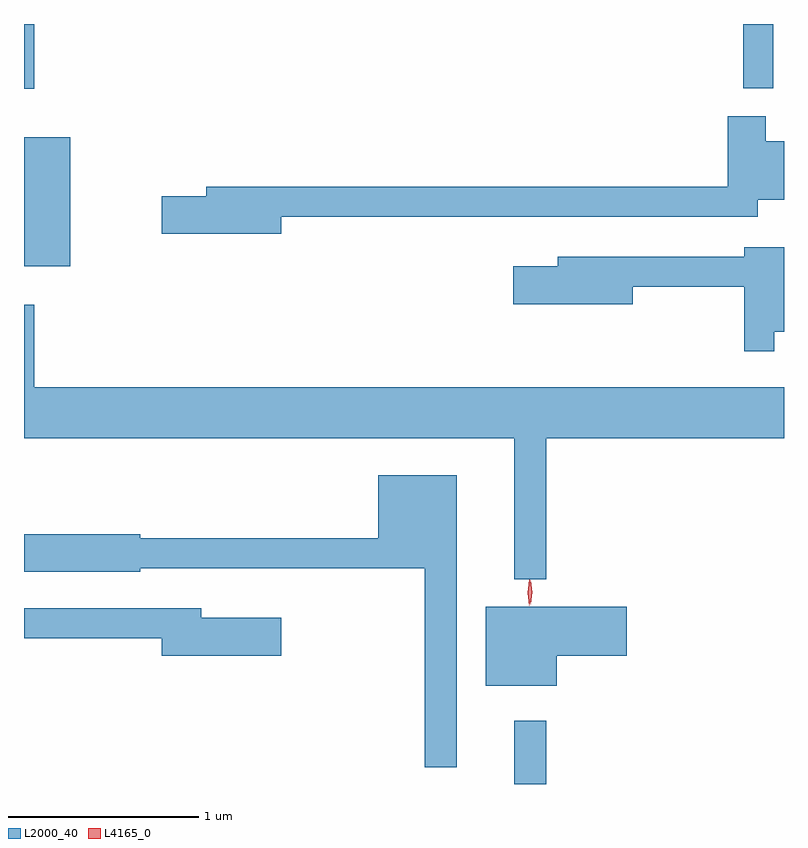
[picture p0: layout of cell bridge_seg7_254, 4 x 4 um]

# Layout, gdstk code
import gdstk
lib = gdstk.Library(unit=1e-6, precision=1e-09)
def R(c, l, rs):  # rectangles x0, y0, x1, y1
    for r in rs: c.add(gdstk.rectangle(r[:2], r[2:], *l))
def P(c, l, *ps):  # polygons
    for p in ps: c.add(gdstk.Polygon(p, *l))
L2000_40 = (2000, 40)
L4165_0 = (4165, 0)

bridge_seg7_254 = lib.new_cell('bridge_seg7_254')
R(bridge_seg7_254, L2000_40, [(1379.661,1774.655,1379.829,1774.988), (1377.081,1777.381,1377.324,1778.059), (1377.081,1778.313,1377.134,1778.655), (1380.866,1778.318,1381.024,1778.655)])
P(bridge_seg7_254, L2000_40, [(1378.434,1777.641),(1380.944,1777.641),(1380.944,1777.731),(1381.081,1777.731),(1381.081,1778.039),(1380.984,1778.039),(1380.984,1778.169),(1380.786,1778.169),(1380.786,1777.799),(1378.041,1777.799),(1378.041,1777.749),(1377.806,1777.749),(1377.806,1777.551),(1378.434,1777.551)],
  [(1381.029,1777.036),(1381.081,1777.036),(1381.081,1777.479),(1380.871,1777.479),(1380.871,1777.429),(1379.891,1777.429),(1379.891,1777.379),(1379.656,1777.379),(1379.656,1777.181),(1380.284,1777.181),(1380.284,1777.271),(1380.871,1777.271),(1380.871,1776.933),(1381.029,1776.933)],
  [(1379.829,1776.476),(1381.081,1776.476),(1381.081,1776.744),(1377.134,1776.744),(1377.134,1777.178),(1377.081,1777.178),(1377.081,1776.476),(1379.661,1776.476),(1379.661,1775.733),(1379.829,1775.733)],
  [(1379.359,1776.279),(1378.946,1776.279),(1378.946,1775.949),(1377.694,1775.949),(1377.694,1775.969),(1377.081,1775.969),(1377.081,1775.771),(1377.694,1775.771),(1377.694,1775.791),(1379.191,1775.791),(1379.191,1774.743),(1379.359,1774.743)],
  [(1379.884,1775.331),(1380.254,1775.331),(1380.254,1775.589),(1379.511,1775.589),(1379.511,1775.171),(1379.884,1775.171)],
  [(1378.434,1775.529),(1378.014,1775.529),(1378.014,1775.579),(1377.081,1775.579),(1377.081,1775.421),(1377.806,1775.421),(1377.806,1775.331),(1378.434,1775.331)])
P(bridge_seg7_254, L4165_0, [(1379.74,1775.594),(1379.74,1775.594),(1379.731,1775.662),(1379.741,1775.73),(1379.742,1775.73),(1379.742,1775.73),(1379.751,1775.662),(1379.741,1775.594)],
  [(1379.747,1775.6),(1379.747,1775.6),(1379.737,1775.664),(1379.747,1775.726),(1379.747,1775.727),(1379.748,1775.726),(1379.757,1775.664),(1379.748,1775.6)])

lib.write_gds('bridge_seg7_254.gds')
